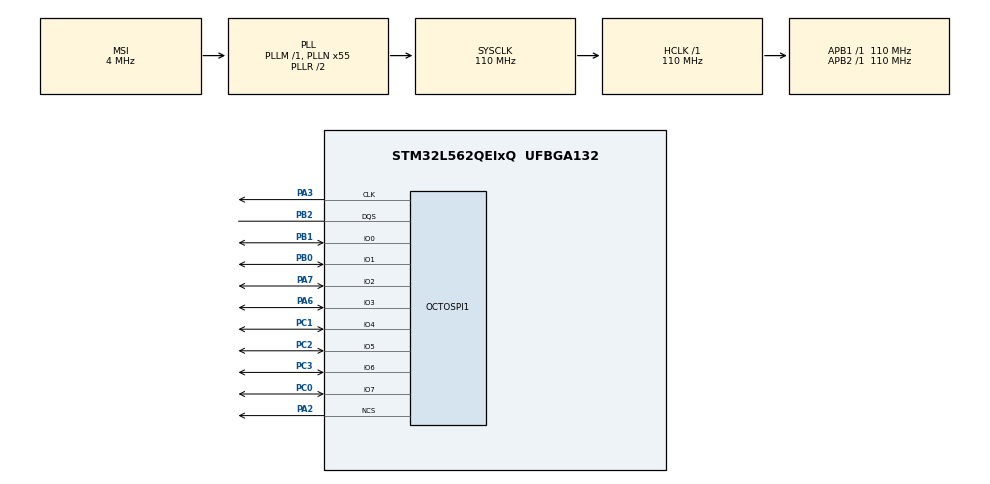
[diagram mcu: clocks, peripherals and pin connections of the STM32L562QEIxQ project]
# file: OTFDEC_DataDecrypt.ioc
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Mcu.Family=STM32L5
Mcu.Name=STM32L562QEIxQ
Mcu.Package=UFBGA132
NVIC.OTFDEC1_IRQn=true\:0\:0\:false\:false\:true\:true\:true\:true
NVIC.PriorityGroup=NVIC_PRIORITYGROUP_3
OCTOSPI1.ChipSelectHighTime=2
OCTOSPI1.ClockPrescaler=2
OCTOSPI1.DelayBlockBypass=HAL_OSPI_DELAY_BLOCK_USED
OCTOSPI1.DelayHoldQuarterCycle=HAL_OSPI_DHQC_ENABLE
OCTOSPI1.DeviceSize=26
OCTOSPI1.FifoThreshold=4
OCTOSPI1.MemoryType=HAL_OSPI_MEMTYPE_MACRONIX
PA2.GPIO_PuPd=GPIO_PULLUP
PA2.Mode=octods_mode
PA2.Signal=OCTOSPI1_NCS
PA3.Mode=octods_mode
PA3.Signal=OCTOSPI1_CLK
PA6.Mode=octods_mode
PA6.Signal=OCTOSPI1_IO3
PA7.Mode=octods_mode
PA7.Signal=OCTOSPI1_IO2
PB0.Mode=octods_mode
PB0.Signal=OCTOSPI1_IO1
PB1.Mode=octods_mode
PB1.Signal=OCTOSPI1_IO0
PB2.Mode=octods_mode
PB2.Signal=OCTOSPI1_DQS
PC0.Mode=octods_mode
PC0.Signal=OCTOSPI1_IO7
PC1.Mode=octods_mode
PC1.Signal=OCTOSPI1_IO4
PC2.Mode=octods_mode
PC2.Signal=OCTOSPI1_IO5
PC3.Mode=octods_mode
PC3.Signal=OCTOSPI1_IO6
ProjectManager.HeapSize=0x200
ProjectManager.StackSize=0x400
ProjectManager.TargetToolchain=EWARM V8.32
RCC.AHBFreq_Value=110000000
RCC.APB1Freq_Value=110000000
RCC.APB1TimFreq_Value=110000000
RCC.APB2Freq_Value=110000000
RCC.APB2TimFreq_Value=110000000
RCC.CortexFreq_Value=110000000
RCC.HCLKFreq_Value=110000000
RCC.HSE_VALUE=16000000
RCC.HSI48_VALUE=48000000
RCC.HSI_VALUE=16000000
RCC.LSE_VALUE=32768
RCC.MSI_VALUE=4000000
RCC.PLLN=55
RCC.SYSCLKFreq_VALUE=110000000
RCC.SYSCLKSource=RCC_SYSCLKSOURCE_PLLCLK
RCC.VCOOutputFreq_Value=220000000
VP_ICACHE_VS_ICACHE.Mode=DirectMappedCache
VP_OTFDEC1_VS_OTFDEC.Mode=OTFDEC_Activate
VP_PWR_VS_DBSignals.Mode=DisableDeadBatterySignals
board=custom

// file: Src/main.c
/* USER CODE BEGIN Header */
/**
  ******************************************************************************
  * @file    OTFDEC/OTFDEC_DataDecrypt/Src/main.c
  * @author  MCD Application Team
  * @brief   This example describes how to decrypt data located on the OCTOSPI external flash using the OTFDEC peripheral.
  ******************************************************************************
  * @attention
  *
  * Copyright (c) 2019 STMicroelectronics.
  * All rights reserved.
  *
  * This software is licensed under terms that can be found in the LICENSE file
  * in the root directory of this software component.
  * If no LICENSE file comes with this software, it is provided AS-IS.
  *
  ******************************************************************************
  */
/* USER CODE END Header */
#include "main.h"

/* USER CODE BEGIN Includes */
#include "hal_octospi_utility.h"
#if defined(__GNUC__)
#include <stdio.h>
#include <stdlib.h>
#endif
/* USER CODE END Includes */

/* USER CODE BEGIN PD */
#define PAGE_SIZE                        0x100
#define BUFFER_SIZE                      0x100
#define START_ADRESS_OCTOSPI1            0x90000000
#define START_ADRESS_OTFDEC1_REGION3     0x90004000
#define END_ADRESS_OTFDEC1_REGION3       0x90004FFF
/* USER CODE END PD */

OSPI_HandleTypeDef hospi1;

OTFDEC_HandleTypeDef hotfdec1;

/* USER CODE BEGIN PV */
OTFDEC_RegionConfigTypeDef Config = {0};
uint32_t Key[4]={ 0x23456789, 0xABCDEF01, 0x23456789, 0xABCDEF01 };
char expected_text[] = {"This message is decrypted by OTFDEC"};

/* Ciphered data */
uint32_t Cipher[BUFFER_SIZE] ={0x14517fa6, 0xf7302814, 0x3bdca8d9, 0x50a35231,
                               0x7a746f17, 0x40f7ba20, 0x700be8c5, 0xf438a916,
                               0x33918470, 0x00000000, 0x00000000, 0x00000000,
                               0x00000000, 0x00000000, 0x00000000, 0x00000000,
                               0x00000000, 0x00000000, 0x00000000, 0x00000000,
                               0x00000000, 0x00000000, 0x00000000, 0x00000000,
                               0x00000000, 0x00000000, 0x00000000, 0x00000000,
                               0x00000000, 0x00000000, 0x00000000, 0x00000000,
                               0x00000000, 0x00000000, 0x00000000, 0x00000000,
                               0x00000000, 0x00000000, 0x00000000, 0x00000000,
                               0x00000000, 0x00000000, 0x00000000, 0x00000000,
                               0x00000000, 0x00000000, 0x00000000, 0x00000000,
                               0x00000000, 0x00000000, 0x00000000, 0x00000000,
                               0x00000000, 0x00000000, 0x00000000, 0x00000000,
                               0x00000000, 0x00000000, 0x00000000, 0x00000000,
                               };
/* USER CODE END PV */

void SystemClock_Config(void);
static void MX_GPIO_Init(void);
static void MX_ICACHE_Init(void);
static void MX_OCTOSPI1_Init(void);
static void MX_OTFDEC1_Init(void);
/* USER CODE BEGIN PFP */
static uint8_t Ref_CRC_computation(uint32_t * keyin);

#if defined(__GNUC__) && !defined(__ARMCC_VERSION)
extern void initialise_monitor_handles(void);
#endif
/* USER CODE END PFP */

int main(void)
{
  /* USER CODE BEGIN 1 */
  uint8_t * ptr_1;
  uint8_t * ptr_2;
  uint32_t i;

#if defined(__GNUC__) && !defined(__ARMCC_VERSION)
  initialise_monitor_handles();	/*rtt*/
  printf("Semihosting Test...\n\r");
#endif
  /* USER CODE END 1 */

  /* MCU Configuration--------------------------------------------------------*/

  /* Reset of all peripherals, Initializes the Flash interface and the Systick. */
  HAL_Init();

  /* Configure the system clock */
  SystemClock_Config();

  /* Initialize all configured peripherals */
  MX_GPIO_Init();
  MX_ICACHE_Init();
  MX_OCTOSPI1_Init();
  MX_OTFDEC1_Init();
  /* USER CODE BEGIN 2 */
  /* Config OCTOSPI */
  OSPI_Config() ;

  /* Write Ciphered Data */
  OSPI_Write(Cipher, START_ADRESS_OTFDEC1_REGION3- START_ADRESS_OCTOSPI1, PAGE_SIZE);

  /* Activate memory mapping */
  OSPI_MemoryMap();

  /* Enable all interruptions */
  __HAL_OTFDEC_ENABLE_IT(&hotfdec1, OTFDEC_ALL_INT);

  /* Set OTFDEC Mode */
  if (HAL_OTFDEC_RegionSetMode(&hotfdec1, OTFDEC_REGION3, OTFDEC_REG_MODE_INSTRUCTION_OR_DATA_ACCESSES) != HAL_OK)
  {
    Error_Handler();
  }

  /* Set OTFDEC Key */
  if (HAL_OTFDEC_RegionSetKey(&hotfdec1, OTFDEC_REGION3, Key) != HAL_OK)
  {
    Error_Handler();
   }

  /* Second CRC check. Superfluous at this point since done by default in HAL_OTFDEC_RegionSetKey()
     but shown in this example for illustration purposes */
  if ((uint8_t)(HAL_OTFDEC_RegionGetKeyCRC( &hotfdec1, OTFDEC_REGION3 )) !=  Ref_CRC_computation(Key))
  {
    Error_Handler();
  }

  /* Configure then activate OTFDEC decryption */
  Config.Nonce[0]     = 0xA5A5A5A5;
  Config.Nonce[1]     = 0xC3C3C3C3;
  Config.StartAddress = START_ADRESS_OTFDEC1_REGION3;
  Config.EndAddress   = END_ADRESS_OTFDEC1_REGION3;
  Config.Version      = 0x7123;
  if (HAL_OTFDEC_RegionConfig(&hotfdec1, OTFDEC_REGION3, &Config, OTFDEC_REG_CONFIGR_LOCK_ENABLE) != HAL_OK)
  {
    Error_Handler();
  }

  /* Output a message on debugger Terminal I/O using printf function */
  printf("\n\r Display OTFDEC output text:\n\r");
  HAL_Delay(100);
  printf((char*)START_ADRESS_OTFDEC1_REGION3,"\n\r");
  HAL_Delay(100);
  printf("\n\r** Test finished successfully. ** \n\r");

  /* Check message decoding */
  ptr_1 = (uint8_t *)START_ADRESS_OTFDEC1_REGION3;
  ptr_2 = (uint8_t *)expected_text;
  BSP_LED_Init(LED_GREEN);
  BSP_LED_Init(LED_RED);
  for (i=0; i< sizeof(expected_text)/(sizeof(*expected_text));i ++)
  {
    if (*ptr_1 != *ptr_2)
    {
       BSP_LED_On(LED_RED);
       Error_Handler();
    }
    else
    {
      ptr_1++;
      ptr_2++;
    }
  }
  /* No error detected if code reaches this point */
  BSP_LED_On(LED_GREEN);
  /* USER CODE END 2 */

  /* Infinite loop */
  while (1)
  {

  }
}

void SystemClock_Config(void)
{
  RCC_OscInitTypeDef RCC_OscInitStruct = {0};
  RCC_ClkInitTypeDef RCC_ClkInitStruct = {0};

  /** Configure the main internal regulator output voltage
  */
  if (HAL_PWREx_ControlVoltageScaling(PWR_REGULATOR_VOLTAGE_SCALE0) != HAL_OK)
  {
    Error_Handler();
  }

  /** Initializes the RCC Oscillators according to the specified parameters
  * in the RCC_OscInitTypeDef structure.
  */
  RCC_OscInitStruct.OscillatorType = RCC_OSCILLATORTYPE_MSI;
  RCC_OscInitStruct.MSIState = RCC_MSI_ON;
  RCC_OscInitStruct.MSICalibrationValue = RCC_MSICALIBRATION_DEFAULT;
  RCC_OscInitStruct.MSIClockRange = RCC_MSIRANGE_6;
  RCC_OscInitStruct.PLL.PLLState = RCC_PLL_ON;
  RCC_OscInitStruct.PLL.PLLSource = RCC_PLLSOURCE_MSI;
  RCC_OscInitStruct.PLL.PLLM = 1;
  RCC_OscInitStruct.PLL.PLLN = 55;
  RCC_OscInitStruct.PLL.PLLP = RCC_PLLP_DIV7;
  RCC_OscInitStruct.PLL.PLLQ = RCC_PLLQ_DIV2;
  RCC_OscInitStruct.PLL.PLLR = RCC_PLLR_DIV2;
  if (HAL_RCC_OscConfig(&RCC_OscInitStruct) != HAL_OK)
  {
    Error_Handler();
  }

  /** Initializes the CPU, AHB and APB buses clocks
  */
  RCC_ClkInitStruct.ClockType = RCC_CLOCKTYPE_HCLK|RCC_CLOCKTYPE_SYSCLK
                              |RCC_CLOCKTYPE_PCLK1|RCC_CLOCKTYPE_PCLK2;
  RCC_ClkInitStruct.SYSCLKSource = RCC_SYSCLKSOURCE_PLLCLK;
  RCC_ClkInitStruct.AHBCLKDivider = RCC_SYSCLK_DIV1;
  RCC_ClkInitStruct.APB1CLKDivider = RCC_HCLK_DIV1;
  RCC_ClkInitStruct.APB2CLKDivider = RCC_HCLK_DIV1;

  if (HAL_RCC_ClockConfig(&RCC_ClkInitStruct, FLASH_LATENCY_5) != HAL_OK)
  {
    Error_Handler();
  }
}

static void MX_ICACHE_Init(void)
{

  /** Enable instruction cache in 1-way (direct mapped cache)
  */
  if (HAL_ICACHE_ConfigAssociativityMode(ICACHE_1WAY) != HAL_OK)
  {
    Error_Handler();
  }
  if (HAL_ICACHE_Enable() != HAL_OK)
  {
    Error_Handler();
  }

}

static void MX_OCTOSPI1_Init(void)
{

  /* OCTOSPI1 parameter configuration*/
  hospi1.Instance = OCTOSPI1;
  hospi1.Init.FifoThreshold = 4;
  hospi1.Init.DualQuad = HAL_OSPI_DUALQUAD_DISABLE;
  hospi1.Init.MemoryType = HAL_OSPI_MEMTYPE_MACRONIX;
  hospi1.Init.DeviceSize = 26;
  hospi1.Init.ChipSelectHighTime = 2;
  hospi1.Init.FreeRunningClock = HAL_OSPI_FREERUNCLK_DISABLE;
  hospi1.Init.ClockMode = HAL_OSPI_CLOCK_MODE_0;
  hospi1.Init.WrapSize = HAL_OSPI_WRAP_NOT_SUPPORTED;
  hospi1.Init.ClockPrescaler = 2;
  hospi1.Init.SampleShifting = HAL_OSPI_SAMPLE_SHIFTING_NONE;
  hospi1.Init.DelayHoldQuarterCycle = HAL_OSPI_DHQC_ENABLE;
  hospi1.Init.ChipSelectBoundary = 0;
  hospi1.Init.DelayBlockBypass = HAL_OSPI_DELAY_BLOCK_USED;
  hospi1.Init.Refresh = 0;
  if (HAL_OSPI_Init(&hospi1) != HAL_OK)
  {
    Error_Handler();
  }

}

static void MX_OTFDEC1_Init(void)
{

  hotfdec1.Instance = OTFDEC1;
  if (HAL_OTFDEC_Init(&hotfdec1) != HAL_OK)
  {
    Error_Handler();
  }

}

static void MX_GPIO_Init(void)
{

  /* GPIO Ports Clock Enable */
  __HAL_RCC_GPIOC_CLK_ENABLE();
  __HAL_RCC_GPIOA_CLK_ENABLE();
  __HAL_RCC_GPIOB_CLK_ENABLE();

}

/* USER CODE BEGIN 4 */
/**
  * @brief  OTFDEC Key CRC computation
  * @note   Source code of the Key CRC computation. Function is used to compute
  *         the expected CRC and compare it with that provided by the Peripheral
  *         in KEYCRC bitfield after loading the key in OTFDEC_RxKEYR registers.
  * @param  keyin OTFDEC key
  * @retval 8-bit long CRC
  */
static uint8_t Ref_CRC_computation(uint32_t * keyin)
{
  uint8_t CRC7_POLY = 0x7;
  uint32_t key_strobe[4] = {0xAA55AA55, 0x3, 0x18, 0xC0};
  uint8_t  i, j, k, crc = 0x0;
  uint32_t  keyval;

  for (j = 0; j < 4; j++)
  {
    keyval = *(keyin+j);
    if (j == 0)
    {
      keyval ^= key_strobe[0];
    }
    else
    {
      keyval ^= (key_strobe[j] << 24) | (crc << 16) | (key_strobe[j] << 8) | crc;
    }

    for (i = 0, crc = 0; i < 32; i++)
    {
      k = (((crc >> 7) ^ ((keyval >> (31-i))&0xF))) & 1;
      crc <<= 1;
      if (k)
      {
        crc ^= CRC7_POLY;
       }
    }

    crc^=0x55;
  }

  return crc;

}
/* USER CODE END 4 */

void Error_Handler(void)
{
  while(1)
  {
  }
}
